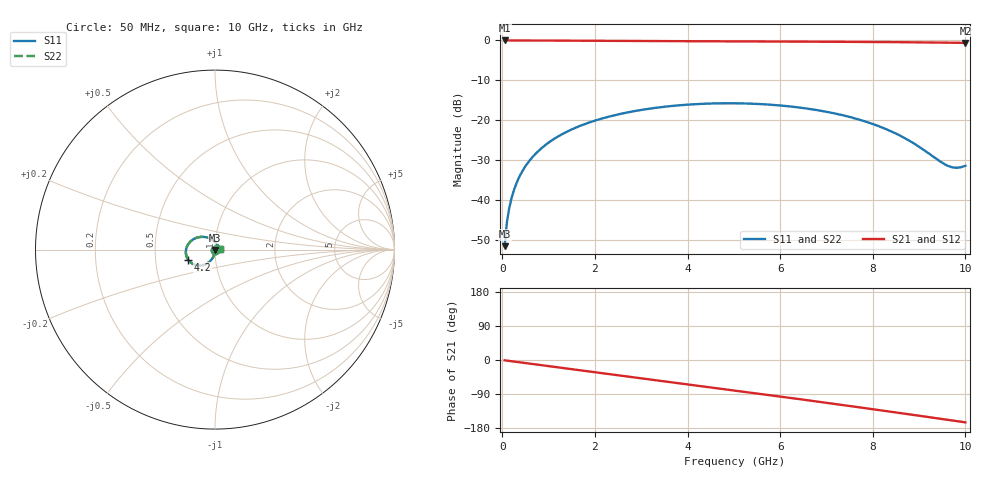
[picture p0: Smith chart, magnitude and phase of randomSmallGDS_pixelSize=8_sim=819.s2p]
! freq	dB(S11)	phase(S11)	dB(S12)	phase(S12)
!  dB(S21)	phase(S21)	dB(S22)	phase(S22)
!S-par simulation data
#  GHz  S  DB  R 50
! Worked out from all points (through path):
!   200 points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, 50 MHz to 10 GHz, reference 50 ohm
!   highest |S21| = 0.00 dB at 50 MHz (marker M1); lowest = -0.6 dB at 10 GHz (marker M2)
!   group delay of S21, straight-line fit = 45.4 ps
!   lowest |S11| = -51.5 dB at 50 MHz (marker M3), VSWR 1.01, Z = 50 - j0.265 ohm
!   |S11| at or under -10 dB: start of sweep to end of sweep
!   |S22| runs from -51.5 to -15.7 dB; largest |S21 - S12| = 0
!   S11 on the Smith chart (normalised r, x): 50 MHz: 1.00, -0.01; 4.2 GHz: 0.74, -0.08; 10 GHz: 1.06, +0.00
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0.05  -51.54 -90.6  -0.00 -0.8  -0.00 -0.8  -51.54 -90.6
0.1  -45.51 -91.7  -0.00 -1.6  -0.00 -1.6  -45.51 -91.7
0.15  -41.99 -92.7  -0.00 -2.4  -0.00 -2.4  -41.99 -92.7
0.2  -39.48 -93.6  -0.00 -3.3  -0.00 -3.3  -39.48 -93.6
0.35  -34.61 -96.3  -0.01 -5.7  -0.01 -5.7  -34.61 -96.3
0.5  -31.51 -98.8  -0.01 -8.1  -0.01 -8.1  -31.51 -98.8
0.7  -28.62 -102.2  -0.02 -11.4  -0.02 -11.4  -28.62 -102.2
1  -25.59 -107.1  -0.03 -16.2  -0.03 -16.2  -25.59 -107.1
1.35  -23.13 -112.9  -0.04 -21.8  -0.04 -21.8  -23.13 -112.9
1.75  -21.09 -119.4  -0.06 -28.2  -0.06 -28.2  -21.09 -119.4
2.5  -18.53 -131.6  -0.10 -40.2  -0.10 -40.2  -18.53 -131.6
3.4  -16.75 -146.2  -0.16 -54.6  -0.16 -54.6  -16.75 -146.2
4.2  -15.94 -159.4  -0.20 -67.4  -0.20 -67.4  -15.94 -159.3
5.05  -15.74 -173.7  -0.24 -81.0  -0.24 -81.0  -15.74 -173.7
5.9  -16.19 171.5  -0.28 -94.8  -0.28 -94.8  -16.19 171.5
6.7  -17.27 156.7  -0.31 -108.0  -0.31 -108.0  -17.27 156.8
7.6  -19.47 138.3  -0.36 -123.0  -0.36 -123.0  -19.47 138.3
8.35  -22.52 119.3  -0.41 -135.8  -0.41 -135.8  -22.53 119.4
8.85  -25.53 102.0  -0.46 -144.5  -0.46 -144.5  -25.53 102.0
9.6  -31.29 49.2  -0.55 -157.5  -0.55 -157.5  -31.31 49.3
9.8  -31.89 25.6  -0.58 -161.1  -0.58 -161.1  -31.92 25.6
10  -31.38 2.2  -0.61 -164.6  -0.61 -164.6  -31.41 2.2
